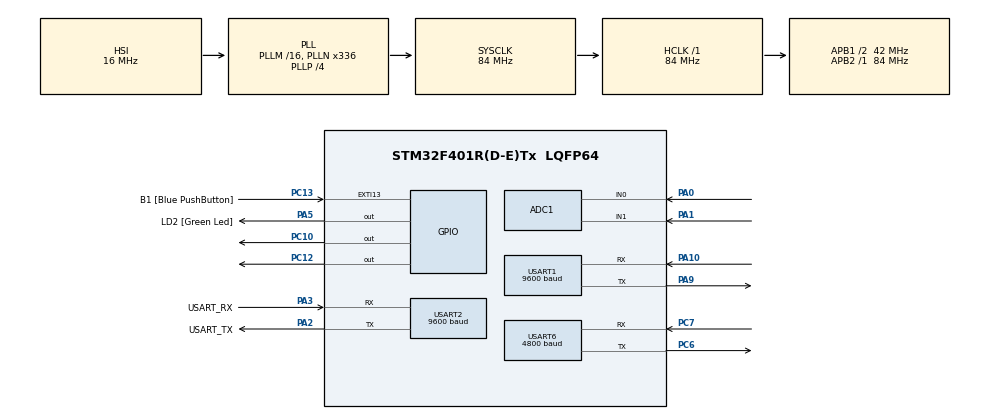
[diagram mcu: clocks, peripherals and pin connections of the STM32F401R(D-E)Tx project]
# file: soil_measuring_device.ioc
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ADC1.Channel-0\#ChannelRegularConversion=ADC_CHANNEL_0
ADC1.Channel-1\#ChannelRegularConversion=ADC_CHANNEL_1
ADC1.ContinuousConvMode=ENABLE
ADC1.DMAContinuousRequests=ENABLE
ADC1.NbrOfConversion=2
ADC1.NbrOfConversionFlag=1
ADC1.Rank-0\#ChannelRegularConversion=1
ADC1.Rank-1\#ChannelRegularConversion=2
ADC1.SamplingTime-0\#ChannelRegularConversion=ADC_SAMPLETIME_480CYCLES
ADC1.SamplingTime-1\#ChannelRegularConversion=ADC_SAMPLETIME_480CYCLES
ADC1.master=1
Dma.ADC1.2.Direction=DMA_PERIPH_TO_MEMORY
Dma.ADC1.2.FIFOMode=DMA_FIFOMODE_DISABLE
Dma.ADC1.2.Instance=DMA2_Stream0
Dma.ADC1.2.MemDataAlignment=DMA_MDATAALIGN_WORD
Dma.ADC1.2.MemInc=DMA_MINC_ENABLE
Dma.ADC1.2.Mode=DMA_CIRCULAR
Dma.ADC1.2.PeriphDataAlignment=DMA_PDATAALIGN_WORD
Dma.ADC1.2.PeriphInc=DMA_PINC_DISABLE
Dma.ADC1.2.Priority=DMA_PRIORITY_LOW
Dma.Request0=USART6_RX
Dma.Request1=USART6_TX
Dma.Request2=ADC1
Dma.USART6_RX.0.Direction=DMA_PERIPH_TO_MEMORY
Dma.USART6_RX.0.FIFOMode=DMA_FIFOMODE_DISABLE
Dma.USART6_RX.0.Instance=DMA2_Stream1
Dma.USART6_RX.0.MemDataAlignment=DMA_MDATAALIGN_BYTE
Dma.USART6_RX.0.MemInc=DMA_MINC_ENABLE
Dma.USART6_RX.0.Mode=DMA_NORMAL
Dma.USART6_RX.0.PeriphDataAlignment=DMA_PDATAALIGN_BYTE
Dma.USART6_RX.0.PeriphInc=DMA_PINC_DISABLE
Dma.USART6_RX.0.Priority=DMA_PRIORITY_LOW
Dma.USART6_TX.1.Direction=DMA_MEMORY_TO_PERIPH
Dma.USART6_TX.1.FIFOMode=DMA_FIFOMODE_DISABLE
Dma.USART6_TX.1.Instance=DMA2_Stream6
Dma.USART6_TX.1.MemDataAlignment=DMA_MDATAALIGN_BYTE
Dma.USART6_TX.1.MemInc=DMA_MINC_ENABLE
Dma.USART6_TX.1.Mode=DMA_NORMAL
Dma.USART6_TX.1.PeriphDataAlignment=DMA_PDATAALIGN_BYTE
Dma.USART6_TX.1.PeriphInc=DMA_PINC_DISABLE
Dma.USART6_TX.1.Priority=DMA_PRIORITY_LOW
Mcu.Family=STM32F4
Mcu.Name=STM32F401R(D-E)Tx
Mcu.Package=LQFP64
NVIC.DMA2_Stream0_IRQn=true\:0\:0\:false\:false\:true\:false\:true\:true
NVIC.DMA2_Stream1_IRQn=true\:0\:0\:false\:false\:true\:false\:true\:true
NVIC.DMA2_Stream6_IRQn=true\:0\:0\:false\:false\:true\:false\:true\:true
NVIC.PriorityGroup=NVIC_PRIORITYGROUP_0
NVIC.USART6_IRQn=true\:0\:0\:false\:false\:true\:true\:true\:true
PA0-WKUP.Signal=ADCx_IN0
PA1.Signal=ADCx_IN1
PA10.Mode=Asynchronous
PA10.Signal=USART1_RX
PA13.GPIO_Label=TMS
PA13.Mode=Serial_Wire
PA13.Signal=SYS_JTMS-SWDIO
PA14.GPIO_Label=TCK
PA14.Mode=Serial_Wire
PA14.Signal=SYS_JTCK-SWCLK
PA2.GPIO_Label=USART_TX
PA2.GPIO_Mode=GPIO_MODE_AF_PP
PA2.GPIO_PuPd=GPIO_NOPULL
PA2.GPIO_Speed=GPIO_SPEED_FREQ_LOW
PA2.Mode=Asynchronous
PA2.Signal=USART2_TX
PA3.GPIO_Label=USART_RX
PA3.GPIO_Mode=GPIO_MODE_AF_PP
PA3.GPIO_PuPd=GPIO_NOPULL
PA3.GPIO_Speed=GPIO_SPEED_FREQ_LOW
PA3.Mode=Asynchronous
PA3.Signal=USART2_RX
PA5.GPIO_Label=LD2 [Green Led]
PA5.GPIO_Mode=GPIO_MODE_OUTPUT_PP
PA5.GPIO_PuPd=GPIO_NOPULL
PA5.GPIO_Speed=GPIO_SPEED_FREQ_LOW
PA5.Signal=GPIO_Output
PA9.Mode=Asynchronous
PA9.Signal=USART1_TX
PB3.GPIO_Label=SWO
PB3.Signal=SYS_JTDO-SWO
PC10.Signal=GPIO_Output
PC12.Signal=GPIO_Output
PC13-ANTI_TAMP.GPIO_Label=B1 [Blue PushButton]
PC13-ANTI_TAMP.GPIO_ModeDefaultEXTI=GPIO_MODE_IT_FALLING
PC13-ANTI_TAMP.GPIO_PuPd=GPIO_NOPULL
PC13-ANTI_TAMP.Signal=GPXTI13
PC14-OSC32_IN.Mode=LSE-External-Oscillator
PC14-OSC32_IN.Signal=RCC_OSC32_IN
PC15-OSC32_OUT.Mode=LSE-External-Oscillator
PC15-OSC32_OUT.Signal=RCC_OSC32_OUT
PC6.Mode=Asynchronous
PC6.Signal=USART6_TX
PC7.Mode=Asynchronous
PC7.Signal=USART6_RX
PH0\ -\ OSC_IN.Mode=HSE-External-Clock-Source
PH0\ -\ OSC_IN.Signal=RCC_OSC_IN
PH1\ -\ OSC_OUT.Mode=HSE-External-Clock-Source
PH1\ -\ OSC_OUT.Signal=RCC_OSC_OUT
ProjectManager.HeapSize=0x200
ProjectManager.StackSize=0x400
ProjectManager.TargetToolchain=STM32CubeIDE
RCC.48MHZClocksFreq_Value=48000000
RCC.AHBFreq_Value=84000000
RCC.APB1CLKDivider=RCC_HCLK_DIV2
RCC.APB1Freq_Value=42000000
RCC.APB1TimFreq_Value=84000000
RCC.APB2Freq_Value=84000000
RCC.APB2TimFreq_Value=84000000
RCC.CortexFreq_Value=84000000
RCC.HCLKFreq_Value=84000000
RCC.HSE_VALUE=8000000
RCC.HSI_VALUE=16000000
RCC.PLLN=336
RCC.PLLP=RCC_PLLP_DIV4
RCC.PLLQ=7
RCC.SYSCLKFreq_VALUE=84000000
RCC.SYSCLKSource=RCC_SYSCLKSOURCE_PLLCLK
RCC.VCOOutputFreq_Value=336000000
SH.ADCx_IN0.0=ADC1_IN0,IN0
SH.ADCx_IN1.0=ADC1_IN1,IN1
USART1.BaudRate=9600
USART1.VirtualMode=VM_ASYNC
USART2.BaudRate=9600
USART2.VirtualMode=VM_ASYNC
USART6.BaudRate=4800
USART6.VirtualMode=VM_ASYNC
board=NUCLEO-F401RE

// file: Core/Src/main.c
/* USER CODE BEGIN Header */
/**
  ******************************************************************************
  * @file           : main.c
  * @brief          : Main program body
  ******************************************************************************
  * @attention
  *
  * <h2><center>&copy; Copyright (c) 2021 STMicroelectronics.
  * All rights reserved.</center></h2>
  *
  * This software component is licensed by ST under BSD 3-Clause license,
  * the "License"; You may not use this file except in compliance with the
  * License. You may obtain a copy of the License at:
  *                        opensource.org/licenses/BSD-3-Clause
  *
  ******************************************************************************
  */
/* USER CODE END Header */
#include "main.h"

/* USER CODE BEGIN Includes */
#include <stdio.h>
#include <string.h>
#include "../../Drivers/hw_drivers/lcd_drivers/LCD16x2.h"
#include "../../Drivers/hw_drivers/npk_drivers/npk_driver.h"
#include "../../Drivers/hw_drivers/bluetooth_drivers/bluetooth_driver.h"
/* USER CODE END Includes */

 ADC_HandleTypeDef hadc1;
DMA_HandleTypeDef hdma_adc1;

UART_HandleTypeDef huart1;
UART_HandleTypeDef huart2;
UART_HandleTypeDef huart6;
DMA_HandleTypeDef hdma_usart6_rx;
DMA_HandleTypeDef hdma_usart6_tx;

void SystemClock_Config(void);
static void MX_GPIO_Init(void);
static void MX_USART2_UART_Init(void);
static void MX_USART6_UART_Init(void);
static void MX_DMA_Init(void);
static void MX_USART1_UART_Init(void);
static void MX_ADC1_Init(void);

/* USER CODE BEGIN 0 */
uint32_t value[2];
uint32_t hum[2];
uint32_t avr_hum;
/* USER CODE END 0 */

int main(void)
{
  /* USER CODE BEGIN 1 */
  uint8_t nitroVal, phosVal, potaVal;
  uint8_t nitroVal1, phosVal1, potaVal1;
  uint8_t nitroVal2, phosVal2, potaVal2;
  uint8_t nitroVal3, phosVal3, potaVal3;
  uint8_t nitroVal4, phosVal4, potaVal4;
  uint8_t nitroVal5, phosVal5, potaVal5;

  /* USER CODE END 1 */

  /* MCU Configuration--------------------------------------------------------*/

  /* Reset of all peripherals, Initializes the Flash interface and the Systick. */
  HAL_Init();

  /* Configure the system clock */
  SystemClock_Config();

  /* Initialize all configured peripherals */
  MX_GPIO_Init();
  MX_USART2_UART_Init();
  MX_USART6_UART_Init();
  MX_DMA_Init();
  MX_USART1_UART_Init();
  MX_ADC1_Init();
  /* USER CODE BEGIN 2 */
  LCD_Init();
  LCD_Clear();
  LCD_Set_Cursor(1, 1);
  LCD_Write_String("Baslatiliyor... ");
  HAL_ADC_Start_DMA(&hadc1, value, 2);
  /* USER CODE END 2 */

  /* Infinite loop */
  /* USER CODE BEGIN WHILE */
  while (1)
  {
	HAL_Delay(1000);

	hum[0]=value[0]/40;
	hum[1]=-(value[1]-4095)/26;
	avr_hum = (hum[0]+hum[1])/2;

	nitroVal = get_nitrogen_data();
	phosVal = get_phosphorous_data();
	potaVal = get_potassium_data();

	send_nitro_data_to_bluetooth(nitroVal);
	send_phos_data_to_bluetooth(phosVal);
	send_pota_data_to_bluetooth(potaVal);
	send_hum_data_to_bluetooth(avr_hum);

	if(nitroVal == 0 && phosVal == 0 && potaVal == 0){
		LCD_Set_Cursor(1, 1);
		LCD_Write_String("Olcume Hazir!  ");
	}
	else if(nitroVal != 0 && nitroVal != 1 && phosVal != 0 && phosVal != 1 && potaVal != 0 && potaVal != 1){
		LCD_Set_Cursor(1, 1);
		LCD_Write_String("Olcum Yapiliyor!");

		if(nitroVal == nitroVal1 && nitroVal == nitroVal2 && nitroVal == nitroVal3 && nitroVal == nitroVal4 && nitroVal == nitroVal5
			&& phosVal == phosVal1 && phosVal == phosVal2 && phosVal == phosVal3 && phosVal == phosVal4 && phosVal == phosVal5
			&& potaVal == potaVal1 && potaVal == potaVal2 && potaVal == potaVal3 && potaVal == potaVal4 && potaVal == potaVal5){

			LCD_Set_Cursor(1, 1);
			LCD_Write_String("     Olcum      ");
			LCD_Set_Cursor(2, 1);
			LCD_Write_String("  Tamamlandi!   ");

			return 0;
		}
	}
	nitroVal5 = nitroVal4;
	phosVal5 = phosVal4;
	potaVal5 = potaVal4;

	nitroVal4 = nitroVal3;
	phosVal4 = phosVal3;
	potaVal4 = potaVal3;

	nitroVal3 = nitroVal2;
	phosVal3 = phosVal2;
	potaVal3 = potaVal2;

	nitroVal2 = nitroVal1;
	phosVal2 = phosVal1;
	potaVal2 = potaVal1;

	nitroVal1 = nitroVal;
	phosVal1 = phosVal;
	potaVal1 = potaVal;

    /* USER CODE END WHILE */

  }
}

void SystemClock_Config(void)
{
  RCC_OscInitTypeDef RCC_OscInitStruct = {0};
  RCC_ClkInitTypeDef RCC_ClkInitStruct = {0};

  /** Configure the main internal regulator output voltage
  */
  __HAL_RCC_PWR_CLK_ENABLE();
  __HAL_PWR_VOLTAGESCALING_CONFIG(PWR_REGULATOR_VOLTAGE_SCALE2);

  /** Initializes the RCC Oscillators according to the specified parameters
  * in the RCC_OscInitTypeDef structure.
  */
  RCC_OscInitStruct.OscillatorType = RCC_OSCILLATORTYPE_HSI;
  RCC_OscInitStruct.HSIState = RCC_HSI_ON;
  RCC_OscInitStruct.HSICalibrationValue = RCC_HSICALIBRATION_DEFAULT;
  RCC_OscInitStruct.PLL.PLLState = RCC_PLL_ON;
  RCC_OscInitStruct.PLL.PLLSource = RCC_PLLSOURCE_HSI;
  RCC_OscInitStruct.PLL.PLLM = 16;
  RCC_OscInitStruct.PLL.PLLN = 336;
  RCC_OscInitStruct.PLL.PLLP = RCC_PLLP_DIV4;
  RCC_OscInitStruct.PLL.PLLQ = 7;
  if (HAL_RCC_OscConfig(&RCC_OscInitStruct) != HAL_OK)
  {
    Error_Handler();
  }

  /** Initializes the CPU, AHB and APB buses clocks
  */
  RCC_ClkInitStruct.ClockType = RCC_CLOCKTYPE_HCLK|RCC_CLOCKTYPE_SYSCLK
                              |RCC_CLOCKTYPE_PCLK1|RCC_CLOCKTYPE_PCLK2;
  RCC_ClkInitStruct.SYSCLKSource = RCC_SYSCLKSOURCE_PLLCLK;
  RCC_ClkInitStruct.AHBCLKDivider = RCC_SYSCLK_DIV1;
  RCC_ClkInitStruct.APB1CLKDivider = RCC_HCLK_DIV2;
  RCC_ClkInitStruct.APB2CLKDivider = RCC_HCLK_DIV1;

  if (HAL_RCC_ClockConfig(&RCC_ClkInitStruct, FLASH_LATENCY_2) != HAL_OK)
  {
    Error_Handler();
  }
}

static void MX_ADC1_Init(void)
{

  ADC_ChannelConfTypeDef sConfig = {0};

  /** Configure the global features of the ADC (Clock, Resolution, Data Alignment and number of conversion)
  */
  hadc1.Instance = ADC1;
  hadc1.Init.ClockPrescaler = ADC_CLOCK_SYNC_PCLK_DIV4;
  hadc1.Init.Resolution = ADC_RESOLUTION_12B;
  hadc1.Init.ScanConvMode = ENABLE;
  hadc1.Init.ContinuousConvMode = ENABLE;
  hadc1.Init.DiscontinuousConvMode = DISABLE;
  hadc1.Init.ExternalTrigConvEdge = ADC_EXTERNALTRIGCONVEDGE_NONE;
  hadc1.Init.ExternalTrigConv = ADC_SOFTWARE_START;
  hadc1.Init.DataAlign = ADC_DATAALIGN_RIGHT;
  hadc1.Init.NbrOfConversion = 2;
  hadc1.Init.DMAContinuousRequests = ENABLE;
  hadc1.Init.EOCSelection = ADC_EOC_SINGLE_CONV;
  if (HAL_ADC_Init(&hadc1) != HAL_OK)
  {
    Error_Handler();
  }

  /** Configure for the selected ADC regular channel its corresponding rank in the sequencer and its sample time.
  */
  sConfig.Channel = ADC_CHANNEL_0;
  sConfig.Rank = 1;
  sConfig.SamplingTime = ADC_SAMPLETIME_480CYCLES;
  if (HAL_ADC_ConfigChannel(&hadc1, &sConfig) != HAL_OK)
  {
    Error_Handler();
  }

  /** Configure for the selected ADC regular channel its corresponding rank in the sequencer and its sample time.
  */
  sConfig.Channel = ADC_CHANNEL_1;
  sConfig.Rank = 2;
  if (HAL_ADC_ConfigChannel(&hadc1, &sConfig) != HAL_OK)
  {
    Error_Handler();
  }

}

static void MX_USART1_UART_Init(void)
{

  huart1.Instance = USART1;
  huart1.Init.BaudRate = 9600;
  huart1.Init.WordLength = UART_WORDLENGTH_8B;
  huart1.Init.StopBits = UART_STOPBITS_1;
  huart1.Init.Parity = UART_PARITY_NONE;
  huart1.Init.Mode = UART_MODE_TX_RX;
  huart1.Init.HwFlowCtl = UART_HWCONTROL_NONE;
  huart1.Init.OverSampling = UART_OVERSAMPLING_16;
  if (HAL_UART_Init(&huart1) != HAL_OK)
  {
    Error_Handler();
  }

}

static void MX_USART2_UART_Init(void)
{

  huart2.Instance = USART2;
  huart2.Init.BaudRate = 9600;
  huart2.Init.WordLength = UART_WORDLENGTH_8B;
  huart2.Init.StopBits = UART_STOPBITS_1;
  huart2.Init.Parity = UART_PARITY_NONE;
  huart2.Init.Mode = UART_MODE_TX_RX;
  huart2.Init.HwFlowCtl = UART_HWCONTROL_NONE;
  huart2.Init.OverSampling = UART_OVERSAMPLING_16;
  if (HAL_UART_Init(&huart2) != HAL_OK)
  {
    Error_Handler();
  }

}

static void MX_USART6_UART_Init(void)
{

  huart6.Instance = USART6;
  huart6.Init.BaudRate = 4800;
  huart6.Init.WordLength = UART_WORDLENGTH_8B;
  huart6.Init.StopBits = UART_STOPBITS_1;
  huart6.Init.Parity = UART_PARITY_NONE;
  huart6.Init.Mode = UART_MODE_TX_RX;
  huart6.Init.HwFlowCtl = UART_HWCONTROL_NONE;
  huart6.Init.OverSampling = UART_OVERSAMPLING_16;
  if (HAL_UART_Init(&huart6) != HAL_OK)
  {
    Error_Handler();
  }

}

static void MX_DMA_Init(void)
{

  /* DMA controller clock enable */
  __HAL_RCC_DMA2_CLK_ENABLE();

  /* DMA interrupt init */
  /* DMA2_Stream0_IRQn interrupt configuration */
  HAL_NVIC_SetPriority(DMA2_Stream0_IRQn, 0, 0);
  HAL_NVIC_EnableIRQ(DMA2_Stream0_IRQn);
  /* DMA2_Stream1_IRQn interrupt configuration */
  HAL_NVIC_SetPriority(DMA2_Stream1_IRQn, 0, 0);
  HAL_NVIC_EnableIRQ(DMA2_Stream1_IRQn);
  /* DMA2_Stream6_IRQn interrupt configuration */
  HAL_NVIC_SetPriority(DMA2_Stream6_IRQn, 0, 0);
  HAL_NVIC_EnableIRQ(DMA2_Stream6_IRQn);

}

static void MX_GPIO_Init(void)
{
  GPIO_InitTypeDef GPIO_InitStruct = {0};

  /* GPIO Ports Clock Enable */
  __HAL_RCC_GPIOC_CLK_ENABLE();
  __HAL_RCC_GPIOH_CLK_ENABLE();
  __HAL_RCC_GPIOA_CLK_ENABLE();
  __HAL_RCC_GPIOB_CLK_ENABLE();

  /*Configure GPIO pin Output Level */
  HAL_GPIO_WritePin(LD2_GPIO_Port, LD2_Pin, GPIO_PIN_RESET);

  /*Configure GPIO pin Output Level */
  HAL_GPIO_WritePin(GPIOC, GPIO_PIN_10|GPIO_PIN_12, GPIO_PIN_RESET);

  /*Configure GPIO pin : B1_Pin */
  GPIO_InitStruct.Pin = B1_Pin;
  GPIO_InitStruct.Mode = GPIO_MODE_IT_FALLING;
  GPIO_InitStruct.Pull = GPIO_NOPULL;
  HAL_GPIO_Init(B1_GPIO_Port, &GPIO_InitStruct);

  /*Configure GPIO pin : LD2_Pin */
  GPIO_InitStruct.Pin = LD2_Pin;
  GPIO_InitStruct.Mode = GPIO_MODE_OUTPUT_PP;
  GPIO_InitStruct.Pull = GPIO_NOPULL;
  GPIO_InitStruct.Speed = GPIO_SPEED_FREQ_LOW;
  HAL_GPIO_Init(LD2_GPIO_Port, &GPIO_InitStruct);

  /*Configure GPIO pins : PC10 PC12 */
  GPIO_InitStruct.Pin = GPIO_PIN_10|GPIO_PIN_12;
  GPIO_InitStruct.Mode = GPIO_MODE_OUTPUT_PP;
  GPIO_InitStruct.Pull = GPIO_NOPULL;
  GPIO_InitStruct.Speed = GPIO_SPEED_FREQ_LOW;
  HAL_GPIO_Init(GPIOC, &GPIO_InitStruct);

}

void Error_Handler(void)
{
  __disable_irq();
  while (1)
  {
  }
}
